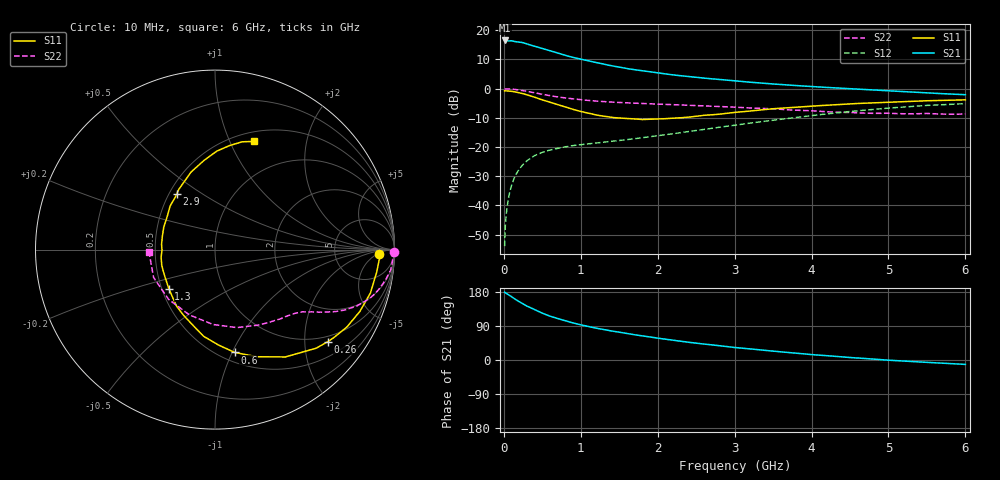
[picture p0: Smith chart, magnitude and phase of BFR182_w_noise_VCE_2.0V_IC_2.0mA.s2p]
! Infineon Technologies  Discrete & RF Semiconductors
! BFR182
! VCE =  2.0 V,  IC =  2.0 mA
! Common Emitter S-Parameters:  Nov 2015
# GHz  S  MA  R  50
!  f  S11  S21  S12  S22
! GHz  MAG  ANG  MAG  ANG  MAG  ANG  MAG  ANG
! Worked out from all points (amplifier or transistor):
!   210 points, 10 MHz to 6 GHz, reference 50 ohm
!   highest |S21| = 16.5 dB at 10 MHz (marker M1)
!   |S21| within 3 dB of that: start of sweep to 532.2 MHz
!   unconditionally stable (mu >= 1): 1.439 GHz to 3.125 GHz
!   at 185 MHz: K = 0.18, MSG = 22.1 dB, |S12| = -28.2 dB
!   at 1.52 GHz: K = 1.02, MAG = 11.6 dB, |S12| = -17.7 dB
!   at 6 GHz: K = 0.91, MSG = 1.5 dB, |S12| = -5.1 dB
!   lowest NFmin = 1.10 dB at 450 MHz
!   S11 on the Smith chart (normalised r, x): 10 MHz: 21, -7; 260 MHz: 0.85, -2.57; 600 MHz: 0.59, -1.02; 1.3 GHz: 0.54, -0.27; 2.9 GHz: 0.55, +0.40; 6 GHz: 0.60, +1.24
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0.01  0.9163 -1.7  6.679 178.9  0.002 93.2  0.9974 -0.7
0.02  0.9173 -3.3  6.59 177.2  0.0047 94.4  0.9871 -1.4
0.03  0.9142 -4.8  6.58 176.0  0.0067 89.4  0.9885 -2.0
0.08  0.9014 -12.5  6.581 169.7  0.0176 82.4  0.9873 -5.3
0.1  0.8991 -15.6  6.606 167.1  0.022 81.5  0.9851 -6.7
0.15  0.8775 -23.1  6.371 159.9  0.0324 76.8  0.9662 -9.9
0.2  0.852 -30.4  6.279 153.9  0.0416 73.1  0.9464 -12.7
0.26  0.812 -39.1  6.065 146.6  0.0518 68.1  0.9187 -16.0
0.3  0.7868 -44.3  5.82 142.2  0.058 65.8  0.8987 -17.9
0.4  0.715 -56.8  5.333 132.9  0.0712 60.4  0.8502 -21.7
0.5  0.6416 -68.5  4.865 123.2  0.0808 56.1  0.8 -24.8
0.6  0.5832 -79.2  4.467 115.7  0.0888 52.9  0.7554 -27.2
0.8  0.4874 -97.4  3.708 103.3  0.1008 48.7  0.6914 -30.3
1.02  0.4003 -117.1  3.154 91.9  0.1102 47.5  0.6416 -32.7
1.3  0.3365 -139.9  2.617 80.3  0.1211 48.2  0.5983 -35.4
1.6  0.309 -163.8  2.203 69.7  0.1339 49.9  0.5708 -38.4
2.02  0.3023 166.3  1.847 57.0  0.1574 53.2  0.5416 -43.6
2.9  0.377 124.3  1.395 35.4  0.2266 55.2  0.4874 -59.0
3.1  0.4013 118.0  1.32 31.2  0.2459 54.6  0.4733 -63.7
4.1  0.5101 95.2  1.066 12.9  0.357 47.2  0.4084 -95.2
5.1  0.592 80.6  0.904 -1.6  0.4733 34.4  0.3737 -137.4
6  0.6417 70.0  0.786 -11.6  0.5533 20.0  0.3676 -177.5
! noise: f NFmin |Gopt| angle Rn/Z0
0.45  1.1  0.42  29  0.36
0.9  1.2  0.4  58  0.3
1.8  1.85  0.32  126  0.22
